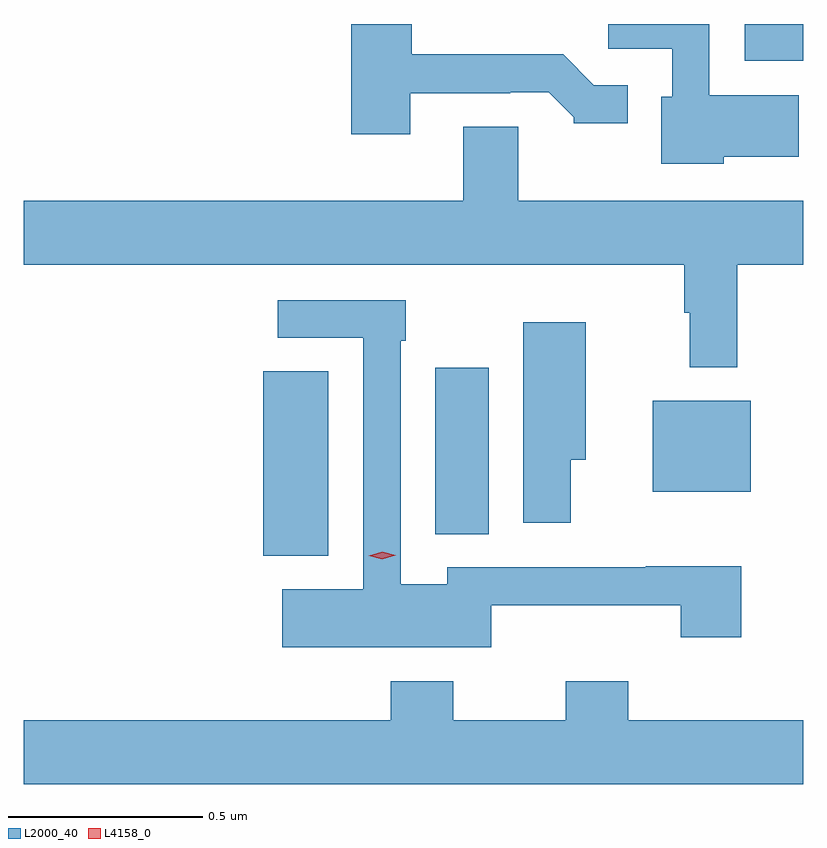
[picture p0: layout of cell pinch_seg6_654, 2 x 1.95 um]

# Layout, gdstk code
import gdstk
lib = gdstk.Library(unit=1e-6, precision=1e-09)
def R(c, l, rs):  # rectangles x0, y0, x1, y1
    for r in rs: c.add(gdstk.rectangle(r[:2], r[2:], *l))
def P(c, l, *ps):  # polygons
    for p in ps: c.add(gdstk.Polygon(p, *l))
L2000_40 = (2000, 40)
L4158_0 = (4158, 0)

pinch_seg6_654 = lib.new_cell('pinch_seg6_654')
R(pinch_seg6_654, L2000_40, [(377.15,969.233,377.317,969.707), (377.591,969.289,377.728,969.715), (378.149,969.398,378.4,969.631), (378.384,970.503,378.535,970.597)])
P(pinch_seg6_654, L2000_40, [(377.527,970.419),(377.783,970.419),(377.783,970.422),(377.882,970.422),(377.946,970.358),(377.946,970.343),(378.085,970.343),(378.085,970.44),(377.997,970.44),(377.919,970.519),(377.53,970.519),(377.53,970.597),(377.375,970.597),(377.375,970.314),(377.527,970.314)],
  [(378.33,970.256),(378.523,970.256),(378.523,970.414),(378.294,970.414),(378.294,970.597),(378.035,970.597),(378.035,970.533),(378.198,970.533),(378.198,970.41),(378.17,970.41),(378.17,970.238),(378.33,970.238)],
  [(378.365,969.98),(378.535,969.98),(378.535,970.144),(377.803,970.144),(377.803,970.334),(377.663,970.334),(377.663,970.144),(376.535,970.144),(376.535,969.98),(378.229,969.98),(378.229,969.857),(378.244,969.857),(378.244,969.717),(378.365,969.717)],
  [(377.734,969.107),(378.22,969.107),(378.22,969.024),(378.375,969.024),(378.375,969.206),(378.131,969.206),(378.131,969.204),(377.621,969.204),(377.621,969.16),(377.502,969.16),(377.502,969.785),(377.515,969.785),(377.515,969.888),(377.187,969.888),(377.187,969.792),(377.406,969.792),(377.406,969.148),(377.199,969.148),(377.199,968.999),(377.734,968.999)],
  [(377.938,969.479),(377.977,969.479),(377.977,969.832),(377.816,969.832),(377.816,969.318),(377.938,969.318)],
  [(378.535,968.812),(378.086,968.812),(378.086,968.911),(377.926,968.911),(377.926,968.812),(377.637,968.812),(377.637,968.911),(377.477,968.911),(377.477,968.812),(376.535,968.812),(376.535,968.648),(378.535,968.648)])
P(pinch_seg6_654, L4158_0, [(377.455,969.224),(377.42,969.233),(377.42,969.233),(377.42,969.233),(377.455,969.244),(377.49,969.235),(377.49,969.235),(377.49,969.235)])

lib.write_gds('pinch_seg6_654.gds')
